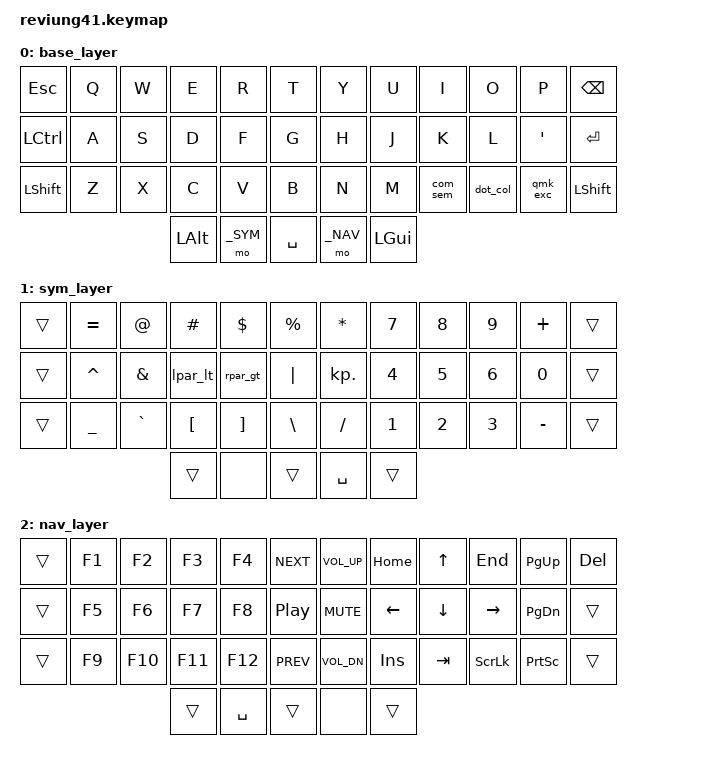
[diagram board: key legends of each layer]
/*
 * Copyright (c) 2020 The ZMK Contributors
 *
 * SPDX-License-Identifier: MIT
 */
#include <behaviors.dtsi>
#include <dt-bindings/zmk/keys.h>
// #include <dt-bindings/led/led.h>
// #include <dt-bindings/zmk/bt.h>
// #include <dt-bindings/zmk/rgb.h>
// #include <dt-bindings/zmk/outputs.h>


#define _BASE    0
#define _SYM     1
#define _NAV     2


// &led_strip { chain-length = <7>; };

/ {
    macros {
        // to_BASE: to_BASE {
        //     label = "ZM_to_BASE";
        //     compatible = "zmk,behavior-macro";
        //     #binding-cells = <0>;
        //     wait-ms = <0>;
        //     tap-ms = <0>;
        //     bindings
        //         = <&rgb_ug RGB_COLOR_HSB(15,30,3)>
        //         , <&to _BASE>
        //         ;
        // };

        // to_NAV: to_NAV {
        //     label = "ZM_to_NAV";
        //     compatible = "zmk,behavior-macro";
        //     #binding-cells = <0>;
        //     wait-ms = <0>;
        //     tap-ms = <0>;
        //     bindings
        //         = <&rgb_ug RGB_COLOR_HSB(200,100,3)>
        //         , <&to _NAV>
        //         ;
        // };

        // mo_NAV: mo_NAV {
        //     label = "ZM_mo_NAV";
        //     compatible = "zmk,behavior-macro";
        //     #binding-cells = <0>;
        //     wait-ms = <0>;
        //     tap-ms = <0>;
        //     bindings
        //         = <&macro_tap &rgb_ug RGB_COLOR_HSB(200,100,3)>
        //         , <&macro_press &mo _NAV>
        //         , <&macro_pause_for_release>
        //         , <&macro_tap &rgb_ug RGB_COLOR_HSB(15,30,3)>
        //         , <&macro_release &mo _NAV>
        //         ;
        // };

        // mo_SYM: mo_SYM {
        //     label = "ZM_mo_SYM";
        //     compatible = "zmk,behavior-macro";
        //     #binding-cells = <0>;
        //     wait-ms = <0>;
        //     tap-ms = <0>;
        //     bindings
        //         = <&macro_tap &rgb_ug RGB_COLOR_HSB(100,80,3)>
        //         , <&macro_press &mo _SYM>
        //         , <&macro_pause_for_release>
        //         , <&macro_tap &rgb_ug RGB_COLOR_HSB(15,30,3)>
        //         , <&macro_release &mo _SYM>
        //         ;
        // };

        // to_BOOT: to_BOOT {
        //     label = "ZM_to_BOOT";
        //     compatible = "zmk,behavior-macro";
        //     #binding-cells = <0>;
        //     bindings
        //         = <&rgb_ug RGB_COLOR_HSB(0,100,100)>
        //         , <&rgb_ug RGB_ON>
        //         , <&bootloader>
        //         ;
        // };
    };
};

/ {
    combos {
        compatible = "zmk,combos";
        combo_RESET {
            timeout-ms = <50>;
            key-positions = <4 5 6 7>;
            bindings = <&rch A A>;
        };

        // combo_RGB_TOG {
        //     timeout-ms = <50>;
        //     key-positions = <17 18>;
        //     bindings = <&rgb_ug RGB_TOG>;
        // };

        // combo_RGB_EFF {
        //     timeout-ms = <50>;
        //     key-positions = <29 30>;
        //     bindings = <&rgb_ug RGB_EFF>;
        // };

        // combo_PRTSCRN {
        //     timeout-ms = <50>;
        //     key-positions = <11 35>;
        //     bindings = <&kp PSCRN>;
        // };

        // combo_LPAR {
        //     timeout-ms = <30>;
        //     key-positions = <15 16>;
        //     bindings = <&kp LPAR>;
        //     layers = <_BASE _SYM>;
        // };

        // combo_RPAR {
        //     timeout-ms = <30>;
        //     key-positions = <19 20>;
        //     bindings = <&kp RPAR>;
        //     layers = <_BASE _SYM>;
        // };

        // combo_LBRC {
        //     timeout-ms = <30>;
        //     key-positions = <3 4>;
        //     bindings = <&kp LBRC>;
        //     layers = <_BASE _SYM>;
        // };

        // combo_RBRC {
        //     timeout-ms = <30>;
        //     key-positions = <7 8>;
        //     bindings = <&kp RBRC>;
        //     layers = <_BASE _SYM>;
        // };

        // combo_LBKT {
        //     timeout-ms = <30>;
        //     key-positions = <27 28>;
        //     bindings = <&kp LBKT>;
        //     layers = <_BASE _SYM>;
        // };

        // combo_RBKT {
        //     timeout-ms = <30>;
        //     key-positions = <31 32>;
        //     bindings = <&kp RBKT>;
        //     layers = <_BASE _SYM>;
        // };

        // combo_LT {
        //     timeout-ms = <30>;
        //     key-positions = <26 27>;
        //     bindings = <&kp LT>;
        //     layers = <_BASE _SYM>;
        // };

        // combo_GT {
        //     timeout-ms = <30>;
        //     key-positions = <32 33>;
        //     bindings = <&kp GT>;
        //     layers = <_BASE _SYM>;
        // };
    };
};

/ {
    behaviors {
        nav_td: tap_dance_nav {
            compatible = "zmk,behavior-tap-dance";
            label = "LOCK_NAVI";
            #binding-cells = <0>;
            tapping-term-ms = <400>;
            bindings = <&mo _NAV>, <&to _NAV>;
        };
 
        bspctap: backspace-tap {
            compatible = "zmk,behavior-hold-tap";
            label = "BACKSPACE_TAP_SHIFT_HOLD";
            #binding-cells = <2>;
            flavor = "hold-preferred";
            tapping-term-ms = <170>;
            quick-tap-ms = <120>;
         // global-quick-tap;
            bindings = <&kp>, <&kp>;
        };

        spctap: space-tap {
            compatible = "zmk,behavior-hold-tap";
            label = "SPACE_TAP_MO_SYM_HOLD";
            #binding-cells = <2>;
            flavor = "hold-preferred";
            tapping-term-ms = <170>;
            quick-tap-ms = <120>;
         // global-quick-tap;
            bindings = <&mo>, <&kp>;
        };

        rch: reset-combo-hold {
            compatible = "zmk,behavior-hold-tap";
            label = "RESET_COMBO_HOLD";
            #binding-cells = <2>;
            flavor = "tap-preferred";
            tapping-term-ms = <2500>;
            bindings = <&bootloader>, <&sys_reset>;
        };

        lpar_lt: lpar_lt {
            compatible = "zmk,behavior-mod-morph";
            label = "LPAR_LT";
            #binding-cells = <0>;
            bindings = <&kp LPAR>, <&kp LT>;
            mods = <(MOD_LSFT)>;
        };

        rpar_gt: rpar_gt {
            compatible = "zmk,behavior-mod-morph";
            label = "RPAR_GT";
            #binding-cells = <0>;
            bindings = <&kp RPAR>, <&kp GT>;
            mods = <(MOD_LSFT)>;
        };

        com_sem: comma_semi {
            compatible = "zmk,behavior-mod-morph";
            label = "COMMA_SEMI";
            #binding-cells = <0>;
            bindings = <&kp COMMA>, <&kp SEMI>;
            mods = <(MOD_LSFT)>;
        };

        dot_col: dot_colon {
            compatible = "zmk,behavior-mod-morph";
            label = "DOT_COLON";
            #binding-cells = <0>;
            bindings = <&kp DOT>, <&kp COLON>;
            mods = <(MOD_LSFT)>;
        };

        qmk_exc: qmark_excl {
            compatible = "zmk,behavior-mod-morph";
            label = "QMARK_EXCL";
            #binding-cells = <0>;
            bindings = <&kp QMARK>, <&kp EXCL>;
            mods = <(MOD_LSFT)>;
        };
    };

        keymap {
                compatible = "zmk,keymap";

                base_layer {
// QWERTY
// -------------------------------------------------------------------------------
// | ESC  |  Q  |  W  |  E  |  R  |  T  |   |  Y  |  U  |  I  |  O  |  P  | BSPC |
// | SHFT |  A  |  S  |  D  |  F  |  G  |   |  H  |  J  |  K  |  L  | ' " | SHFT |
// | CTRL |  Z  |  X  |  C  |  V  |  B  |   |  N  |  M  | , ; | . : | ? ! | ENTR |
//                      | LALT | _SYM | SPACE | _NAV | LGUI |
                        bindings = <
   &kp ESC    &kp Q  &kp W  &kp E  &kp R  &kp T       &kp Y  &kp U  &kp I     &kp O     &kp P     &kp BSPC 
   &kp LCTRL  &kp A  &kp S  &kp D  &kp F  &kp G       &kp H  &kp J  &kp K     &kp L     &kp SQT   &kp ENTER
   &kp LSHFT  &kp Z  &kp X  &kp C  &kp V  &kp B       &kp N  &kp M  &com_sem  &dot_col  &qmk_exc  &kp LSHFT
                           &kp LALT &mo _SYM &kp SPACE &mo _NAV &kp LGUI
                        >;
                };

//                 base_layer {
// // ColemaSK
// // ------------------------------------------------------------------------------
// // | ESC  |  Q  |  F  |  V  |  P  |  B  |   |  K  |  L  |  U  |  Y  |  J  | DEL |
// // | GUI  |  A  |  R  |  S  |  T  |  G  |   |  M  |  N  |  E  |  I  |  O  | TAB |
// // | CTRL |  '  |  Z  |  C  |  D  |  W  |   |  X  |  H  | , ; | . : |  "  | INS |
// //        | (LOCK)_NAV | SHIFT(BKSPC) | ENTER | _SYM(SPC) | ALT |
//                         bindings = <
//    &kp ESC   &kp Q   &kp F &kp V &kp P &kp B       &kp K &kp L &kp U    &kp Y    &kp J   &kp DEL 
//    &kp LGUI  &kp A   &kp R &kp S &kp T &kp G       &kp M &kp N &kp E    &kp I    &kp O   &kp TAB 
//    &kp LCTRL &kp SQT &kp Z &kp C &kp D &kp W       &kp X &kp H &com_sem &dot_col &kp DQT &kp INS 
//                  &nav_td &bspctap LSHIFT BSPC &kp ENTER &spctap _SYM SPACE &kp LALT
//                         >;
//                 };

//                 base_layer {
// // ENGRAM SK
// // ------------------------------------------------------------------------------
// // | ESC  |  B  |  Y  |  O  |  U  |  X  |   |  Q  |  L  |  D  |  W  |  V  | DEL |
// // | GUI  |  C  |  I  |  E  |  A  | , ; |   | . : |  H  |  T  |  S  |  N  | TAB |
// // | CTRL |  G  |  Z  |  J  |  K  | ? ! |   | ' " |  R  |  M  |  F  |  P  | INS |
// //        | (LOCK)_NAV | SHIFT(BKSPC) | ENTER | _SYM(SPC) | ALT |
//                         bindings = <
//    &kp ESC   &kp B &kp Y &kp O &kp U &kp X       &kp Q    &kp L &kp D &kp W &kp V &kp DEL 
//    &kp LGUI  &kp C &kp I &kp E &kp A &com_sem    &dot_col &kp H &kp T &kp S &kp N &kp TAB 
//    &kp LCTRL &kp G &kp Z &kp J &kp K &qmk_exc    &kp SQT  &kp R &kp M &kp F &kp P &kp INS 
//                  &nav_td &bspctap LSHIFT BSPC &kp ENTER &spctap X SPACE &kp LALT
//                         >;
//                 };

                sym_layer {
// -----------------------------------------------------------------------------
// |  ˇ  |  =  |  @  |  #  |  $  |  %  |   |  *  |  7  |  8  |  9  |  +  |  ˇ  |
// |  ˇ  |  ^  |  &  | ( < | ) > |  |  |   | . , |  4  |  5  |  6  |  0  |  ˇ  |
// |  ˇ  |  _  | ` ~ | [ { | ] } |  \  |   |  /  |  1  |  2  |  3  |  -  |  ˇ  |
//                        |  ˇ  |     |  ˇ  | SPC |  ˇ  |
                        bindings = <
   &trans &kp EQUAL &kp AT    &kp HASH  &kp DLLR  &kp PRCNT       &kp ASTRK  &kp N7  &kp N8  &kp N9  &kp PLUS  &trans
   &trans &kp CARET &kp AMPS  &lpar_lt  &rpar_gt  &kp PIPE        &kp KP_DOT &kp N4  &kp N5  &kp N6  &kp N0    &trans
   &trans &kp UNDER &kp GRAVE &kp LBKT  &kp RBKT  &kp BSLH        &kp SLASH  &kp N1  &kp N2  &kp N3  &kp MINUS &trans
                                              &trans &none &trans &kp SPACE  &trans
                        >;
                };

                nav_layer {
// -----------------------------------------------------------------------------------
// |  ˇ  |  F1 |  F2 |  F3 |  F4 | NEXT |   | VOL+ | HOME |  UP  | END  | PGUP | DEL |
// |  ˇ  |  F5 |  F6 |  F7 |  F8 | PLAY |   | MUTE | LEFT | DOWN | RGHT | PGDN |  ˇ  |
// |  ˇ  |  F9 | F10 | F11 | F12 | PREV |   | VOL- | INS  | TAB  |      | PRN  |  ˇ  |
//                        | _BASE |  ˇ  |  ˇ  | SPC |  ˇ  |
                        bindings = <
   &trans &kp F1  &kp F2  &kp F3  &kp F4  &kp C_NEXT      &kp C_VOL_UP &kp HOME &kp UP   &kp END    &kp PG_UP  &kp DEL
   &trans &kp F5  &kp F6  &kp F7  &kp F8  &kp C_PP        &kp C_MUTE   &kp LEFT &kp DOWN &kp RIGHT  &kp PG_DN  &trans
   &trans &kp F9  &kp F10 &kp F11 &kp F12 &kp C_PREV      &kp C_VOL_DN &kp INS  &kp TAB  &kp SLCK   &kp PSCRN  &trans
                                  &trans &kp SPACE &trans &none &trans
                        >;
                };


        };
};
